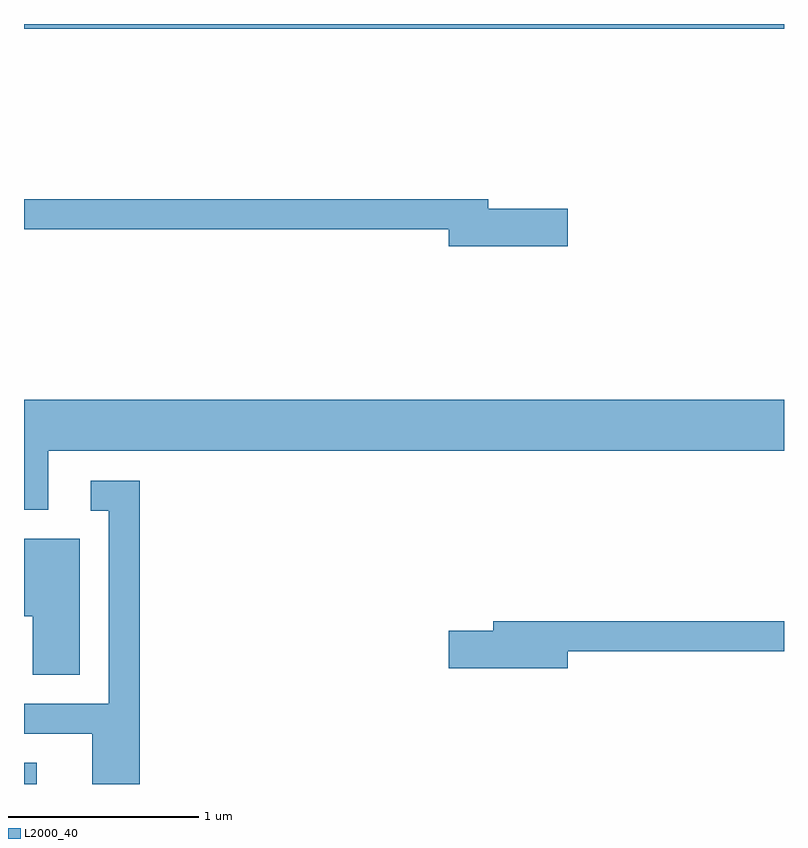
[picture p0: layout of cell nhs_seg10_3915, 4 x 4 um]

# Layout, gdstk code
import gdstk
lib = gdstk.Library(unit=1e-6, precision=1e-09)
def R(c, l, rs):  # rectangles x0, y0, x1, y1
    for r in rs: c.add(gdstk.rectangle(r[:2], r[2:], *l))
def P(c, l, *ps):  # polygons
    for p in ps: c.add(gdstk.Polygon(p, *l))
L2000_40 = (2000, 40)

nhs_seg10_3915 = lib.new_cell('nhs_seg10_3915')
R(nhs_seg10_3915, L2000_40, [(299.611,2196.522,299.679,2196.634), (299.611,2200.496,303.611,2200.522)])
P(nhs_seg10_3915, L2000_40, [(302.474,2199.549),(302.054,2199.549),(302.054,2199.599),(299.611,2199.599),(299.611,2199.441),(301.846,2199.441),(301.846,2199.351),(302.474,2199.351)],
  [(299.739,2198.276),(303.611,2198.276),(303.611,2198.544),(299.611,2198.544),(299.611,2197.966),(299.739,2197.966)],
  [(300.219,2198.119),(299.963,2198.119),(299.963,2197.961),(300.056,2197.961),(300.056,2196.944),(299.611,2196.944),(299.611,2196.786),(299.971,2196.786),(299.971,2196.522),(300.219,2196.522)],
  [(299.904,2197.814),(299.611,2197.814),(299.611,2197.406),(299.656,2197.406),(299.656,2197.096),(299.904,2197.096)],
  [(302.474,2197.221),(303.611,2197.221),(303.611,2197.379),(302.081,2197.379),(302.081,2197.329),(301.846,2197.329),(301.846,2197.131),(302.474,2197.131)])

lib.write_gds('nhs_seg10_3915.gds')
